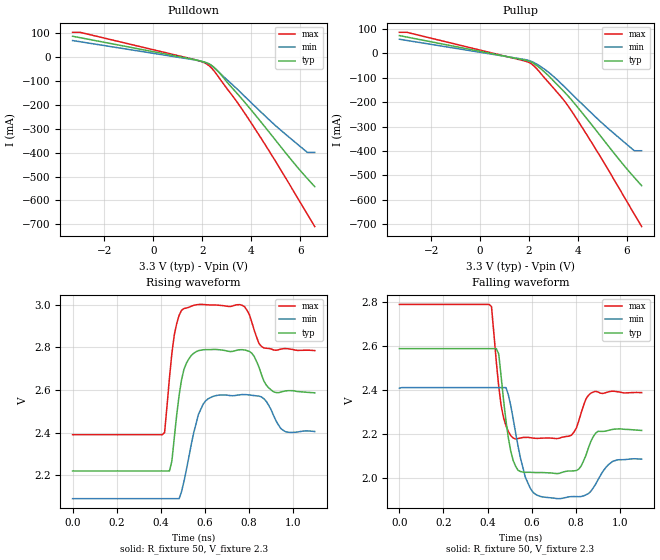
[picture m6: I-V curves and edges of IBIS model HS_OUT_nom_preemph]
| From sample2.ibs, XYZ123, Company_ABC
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|   Model HS_OUT_nom_preemph
[Model]   HS_OUT_nom_preemph
Model_type   Output_ECL
Polarity   Non-Inverting
Vmeas   = 2.4V
Cref   = 0pF
Vref   = 2.3V
Rref   = 50ohms
C_comp   1.6pF   1.6pF   1.6pF
[Temperature Range]   50   0   125
[Voltage Range]   3.3V   3.135V   3.465V
[Pullup Reference]   3.3V   3.0V   3.6V
[Pulldown Reference]   3.3V   3.0V   3.6V
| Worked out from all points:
|   rising waveform, R_fixture 50, V_fixture 2.3: 20-80 % time 22.8ps typ, 36.8ps min, 20.7ps max; typ from 2.22 V to 2.59 V
|   falling waveform, R_fixture 50, V_fixture 2.3: 20-80 % time 24ps typ, 35.4ps min, 21.5ps max; typ from 2.59 V to 2.22 V
[Pulldown]
| voltage   I(typ)   I(min)   I(max)
-3.3V     87.4mA     69.38mA    103.9mA
-3V       81.53mA    64.52mA    103.9mA
1.7V      -10.75mA   -12.04mA   -10.65mA
2.1V      -21.01mA   -21.21mA   -24.05mA
2.3V      -29.63mA   -30.05mA   -37.65mA
2.5V      -44.47mA   -46.09mA   -59.94mA
2.7V      -65.34mA   -64.89mA   -87.82mA
3.4V      -149.2mA   -131.1mA   -184.7mA
4V        -221.2mA   -190.6mA   -275.4mA
5V        -348.1mA   -287.1mA   -436.7mA
6.3V      -508.6mA   -399.1mA   -658.2mA
6.6V      -542.4mA   -399.1mA   -709.3mA
[Pullup]
| voltage   I(typ)   I(min)   I(max)
-3.3V     72.68mA    57.79mA    86.25mA
-2.9V     64.84mA    51.3mA     83.86mA
1.8V      -27.32mA   -24.95mA   -30.76mA
2.1V      -36.4mA    -33.27mA   -43.46mA
2.4V      -56.77mA   -49.36mA   -73.09mA
2.8V      -92.52mA   -77.93mA   -119.8mA
3.4V      -153.9mA   -132.5mA   -189.4mA
3.7V      -186.9mA   -162.2mA   -231.2mA
4.9V      -336.1mA   -278mA     -421.5mA
5.7V      -437.6mA   -348.1mA   -556.4mA
6.3V      -508.6mA   -399.1mA   -659mA
6.6V      -542.4mA   -399.1mA   -709.9mA
[Ramp]
dV/dt_r  0.10758V/0.0121311ns   0.09576V/0.0182537ns   0.11598V/0.0107411ns
dV/dt_f  0.11382V/0.0130822ns   0.0951V/0.0178025ns   0.12096V/0.0116491ns
R_load   = 50
[Rising Waveform]
R_fixture   = 50
V_fixture   = 2.3
V_fixture_min   = 2.135
V_fixture_max   = 2.465
|  time   V(typ)   V(min)   V(max)
0s        2.22V      2.09V      2.39V
418ps     2.22V      2.09V      2.4V
462ps     2.376V     2.09V      2.858V
506ps     2.697V     2.171V     2.982V
572ps     2.784V     2.486V     3.001V
638ps     2.79V      2.57V      2.999V
781ps     2.788V     2.578V     2.99V
869ps     2.642V     2.559V     2.797V
957ps     2.593V     2.411V     2.794V
1.1ns     2.587V     2.405V     2.785V
[Falling Waveform]
R_fixture   = 50
V_fixture   = 2.3
V_fixture_min   = 2.135
V_fixture_max   = 2.465
|  time   V(typ)   V(min)   V(max)
0s        2.59V      2.41V      2.791V
418ps     2.59V      2.413V     2.782V
451ps     2.565V     2.413V     2.418V
462ps     2.462V     2.413V     2.33V
517ps     2.08V      2.268V     2.183V
572ps     2.027V     2.004V     2.186V
638ps     2.026V     1.918V     2.182V
781ps     2.033V     1.916V     2.196V
880ps     2.189V     1.956V     2.392V
1.1ns     2.217V     2.087V     2.39V
